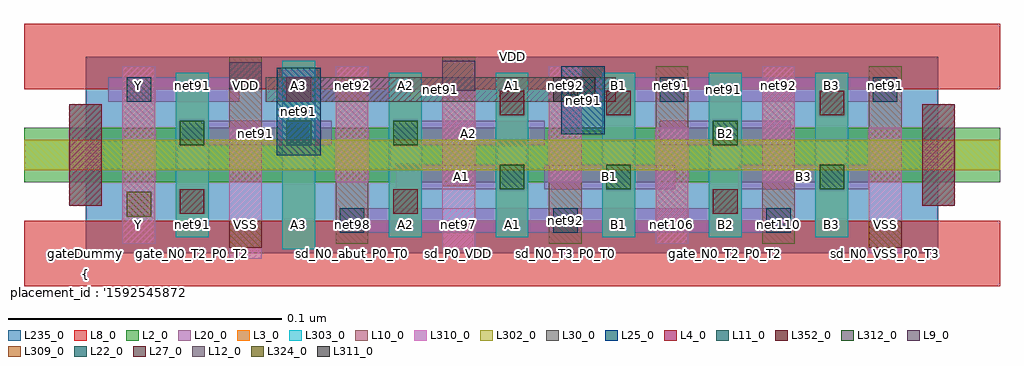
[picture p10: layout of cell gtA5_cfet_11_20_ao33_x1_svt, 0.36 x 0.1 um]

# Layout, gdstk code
import gdstk
lib = gdstk.Library(unit=1e-6, precision=2.5e-10)
def R(c, l, rs):  # rectangles x0, y0, x1, y1
    for r in rs: c.add(gdstk.rectangle(r[:2], r[2:], *l))
def A(c, l, x, y, w, h, nx, ny, dx, dy):  # array of equal rectangles
    R(c, l, [(x+i*dx, y+j*dy, x+i*dx+w, y+j*dy+h) for i in range(nx) for j in range(ny)])
L2_0 = (2, 0)
L3_0 = (3, 0)
L4_0 = (4, 0)
L8_0 = (8, 0)
L9_0 = (9, 0)
L10_0 = (10, 0)
L11_0 = (11, 0)
L12_0 = (12, 0)
L20_0 = (20, 0)
L22_0 = (22, 0)
L25_0 = (25, 0)
L27_0 = (27, 0)
L30_0 = (30, 0)
L235_0 = (235, 0)
L302_0 = (302, 0)
L303_0 = (303, 0)
L309_0 = (309, 0)
L310_0 = (310, 0)
L311_0 = (311, 0)
L312_0 = (312, 0)
L324_0 = (324, 0)
L352_0 = (352, 0)

gta5_cfet_11_20_ao33_x1_ = lib.new_cell('gtA5_cfet_11_20_ao33_x1_svt')
R(gta5_cfet_11_20_ao33_x1_, L2_0, [(-0.0225,0.026,0.3345,0.046)])
A(gta5_cfet_11_20_ao33_x1_, L3_0, 0.111, 0.006, 0.012, 0.06, 5, 1, 0.039, 0)
R(gta5_cfet_11_20_ao33_x1_, L3_0, [(0.072,0.0015,0.084,0.0705), (0.033,0.006,0.045,0.066), (-0.006,0.0175,0.006,0.0545), (0.306,0.0175,0.318,0.0545)])
R(gta5_cfet_11_20_ao33_x1_, L4_0, [(-0.006,0.0175,0.006,0.0545), (0.306,0.0175,0.318,0.0545)])
R(gta5_cfet_11_20_ao33_x1_, L8_0, [(-0.0225,-0.012,0.3345,0.012), (-0.0225,0.06,0.3345,0.084)])
R(gta5_cfet_11_20_ao33_x1_, L9_0, [(0.1305,0.0595,0.1425,0.0705), (0.0525,0.06,0.0645,0.07)])
A(gta5_cfet_11_20_ao33_x1_, L10_0, 0.0135, 0.0035, 0.012, 0.065, 3, 1, 0.078, 0)
R(gta5_cfet_11_20_ao33_x1_, L10_0, [(0.2085,0.0035,0.2205,0.0685), (0.2475,0.0035,0.2595,0.0685), (0.1305,0.0245,0.1425,0.072), (0.0525,0.026,0.0645,0.072), (0.2865,0.026,0.2985,0.0685)])
A(gta5_cfet_11_20_ao33_x1_, L11_0, 0.093, 0.0075, 0.009, 0.009, 3, 1, 0.078, 0)
R(gta5_cfet_11_20_ao33_x1_, L11_0, [(0.015,0.0555,0.024,0.0645), (0.21,0.0555,0.219,0.0645), (0.288,0.0555,0.297,0.0645)])
R(gta5_cfet_11_20_ao33_x1_, L12_0, [(0.0735,0.0555,0.0825,0.0645)])
R(gta5_cfet_11_20_ao33_x1_, L20_0, [(0.093,0.0075,0.258,0.0165), (0.1135,0.0235,0.1615,0.0325), (0.1678,0.0235,0.2157,0.0325), (0.2388,0.0235,0.2868,0.0325), (0.0345,0.0395,0.09,0.0485), (0.1125,0.0395,0.168,0.0485), (0.21,0.0395,0.258,0.0485), (0.0083,0.0555,0.0563,0.0645), (0.0708,0.0555,0.1188,0.0645), (0.17,0.0555,0.297,0.0645)])
R(gta5_cfet_11_20_ao33_x1_, L22_0, [(0.0735,0.0395,0.0825,0.0485), (0.1775,0.0555,0.1865,0.0645)])
R(gta5_cfet_11_20_ao33_x1_, L25_0, [(0.07,0.036,0.086,0.068), (0.174,0.0435,0.19,0.0685)])
R(gta5_cfet_11_20_ao33_x1_, L27_0, [(0.0735,0.0555,0.0825,0.0645), (0.1775,0.0555,0.1865,0.0645)])
R(gta5_cfet_11_20_ao33_x1_, L30_0, [(0.066,0.0555,0.194,0.0645)])
R(gta5_cfet_11_20_ao33_x1_, L235_0, [(0,0,0.312,0.072)])
R(gta5_cfet_11_20_ao33_x1_, L302_0, [(-0.0225,0.0305,0.3345,0.0415)])
A(gta5_cfet_11_20_ao33_x1_, L303_0, 0.111, 0.006, 0.012, 0.06, 5, 1, 0.039, 0)
R(gta5_cfet_11_20_ao33_x1_, L303_0, [(0.072,0.0015,0.084,0.0705), (0.033,0.006,0.045,0.066), (-0.006,0.0175,0.006,0.0545), (0.306,0.0175,0.318,0.0545)])
R(gta5_cfet_11_20_ao33_x1_, L309_0, [(0.0525,0.002,0.0645,0.012), (0.2865,0.002,0.2985,0.012)])
A(gta5_cfet_11_20_ao33_x1_, L310_0, 0.0915, 0.026, 0.012, 0.0425, 3, 1, 0.078, 0)
R(gta5_cfet_11_20_ao33_x1_, L310_0, [(0.0525,-0.002,0.0645,0.046), (0.2865,0,0.2985,0.046), (0.1305,0.0015,0.1425,0.0705), (0.0135,0.0035,0.0255,0.0685), (0.2085,0.0035,0.2205,0.046)])
R(gta5_cfet_11_20_ao33_x1_, L311_0, [(0.171,0.0555,0.18,0.0645)])
R(gta5_cfet_11_20_ao33_x1_, L312_0, [(0.1515,0.0235,0.1605,0.0325), (0.1905,0.0235,0.1995,0.0325), (0.2685,0.0235,0.2775,0.0325), (0.0345,0.0395,0.0435,0.0485), (0.1125,0.0395,0.1215,0.0485), (0.2295,0.0395,0.2385,0.0485)])
R(gta5_cfet_11_20_ao33_x1_, L324_0, [(0.015,0.0135,0.024,0.0225)])
R(gta5_cfet_11_20_ao33_x1_, L352_0, [(0.0345,0.0145,0.0435,0.0235), (0.1125,0.0145,0.1215,0.0235), (0.2295,0.0145,0.2385,0.0235), (0.1515,0.0505,0.1605,0.0595), (0.1905,0.0505,0.1995,0.0595), (0.2685,0.0505,0.2775,0.0595)])
gta5_cfet_11_20_ao33_x1_.add(gdstk.Label('net92', (0.1755,0.012), layer=100, texttype=100))
gta5_cfet_11_20_ao33_x1_.add(gdstk.Label('net91', (0.0622,0.044), layer=100, texttype=100))
gta5_cfet_11_20_ao33_x1_.add(gdstk.Label('net91', (0.2335,0.06), layer=100, texttype=100))
gta5_cfet_11_20_ao33_x1_.add(gdstk.Label('net91', (0.078,0.052), layer=101, texttype=101))
gta5_cfet_11_20_ao33_x1_.add(gdstk.Label('net91', (0.182,0.056), layer=101, texttype=101))
gta5_cfet_11_20_ao33_x1_.add(gdstk.Label('net91', (0.13,0.06), layer=102, texttype=102))
gta5_cfet_11_20_ao33_x1_.add(gdstk.Label('gateDummy', (0,0), layer=103, texttype=103))
gta5_cfet_11_20_ao33_x1_.add(gdstk.Label('sd_N0_T3_P0_T3', (0.0195,0), layer=103, texttype=103))
gta5_cfet_11_20_ao33_x1_.add(gdstk.Label('gate_N0_T2_P0_T2', (0.039,0), layer=103, texttype=103))
gta5_cfet_11_20_ao33_x1_.add(gdstk.Label('sd_N0_VSS_P0_VDD', (0.0585,0), layer=103, texttype=103))
gta5_cfet_11_20_ao33_x1_.add(gdstk.Label('gate_N0_T3_P0_T3', (0.078,0), layer=103, texttype=103))
gta5_cfet_11_20_ao33_x1_.add(gdstk.Label('sd_N0_abut_P0_T0', (0.0975,0), layer=103, texttype=103))
gta5_cfet_11_20_ao33_x1_.add(gdstk.Label('gate_N0_T2_P0_T2', (0.117,0), layer=103, texttype=103))
gta5_cfet_11_20_ao33_x1_.add(gdstk.Label('sd_P0_VDD', (0.1365,0), layer=103, texttype=103))
gta5_cfet_11_20_ao33_x1_.add(gdstk.Label('gate_N0_T1_P0_T1', (0.156,0), layer=103, texttype=103))
gta5_cfet_11_20_ao33_x1_.add(gdstk.Label('sd_N0_T3_P0_T0', (0.1755,0), layer=103, texttype=103))
gta5_cfet_11_20_ao33_x1_.add(gdstk.Label('gate_N0_T1_P0_T1', (0.195,0), layer=103, texttype=103))
gta5_cfet_11_20_ao33_x1_.add(gdstk.Label('sd_N0_abut_P0_T3', (0.2145,0), layer=103, texttype=103))
gta5_cfet_11_20_ao33_x1_.add(gdstk.Label('gate_N0_T2_P0_T2', (0.234,0), layer=103, texttype=103))
gta5_cfet_11_20_ao33_x1_.add(gdstk.Label('sd_N0_abut_P0_T0', (0.2535,0), layer=103, texttype=103))
gta5_cfet_11_20_ao33_x1_.add(gdstk.Label('gate_N0_T1_P0_T1', (0.273,0), layer=103, texttype=103))
gta5_cfet_11_20_ao33_x1_.add(gdstk.Label('sd_N0_VSS_P0_T3', (0.2925,0), layer=103, texttype=103))
gta5_cfet_11_20_ao33_x1_.add(gdstk.Label('gateDummy', (0.312,0), layer=103, texttype=103))
gta5_cfet_11_20_ao33_x1_.add(gdstk.Label('}', (0,-0.0785), layer=104, texttype=104))
gta5_cfet_11_20_ao33_x1_.add(gdstk.Label('  power : None', (0,-0.0713), layer=104, texttype=104))
gta5_cfet_11_20_ao33_x1_.add(gdstk.Label('  performance : None', (0,-0.0643), layer=104, texttype=104))
gta5_cfet_11_20_ao33_x1_.add(gdstk.Label("  solution_hash : '10380707185017707928'", (0,-0.057), layer=104, texttype=104))
gta5_cfet_11_20_ao33_x1_.add(gdstk.Label('  number_m2 : 1', (0,-0.05), layer=104, texttype=104))
gta5_cfet_11_20_ao33_x1_.add(gdstk.Label('  number_m1 : 2', (0,-0.0428), layer=104, texttype=104))
gta5_cfet_11_20_ao33_x1_.add(gdstk.Label('  number_m0cuts : 0', (0,-0.0358), layer=104, texttype=104))
gta5_cfet_11_20_ao33_x1_.add(gdstk.Label('  number_m0 : 10', (0,-0.0285), layer=104, texttype=104))
gta5_cfet_11_20_ao33_x1_.add(gdstk.Label("  solution_number : '0000'", (0,-0.0215), layer=104, texttype=104))
gta5_cfet_11_20_ao33_x1_.add(gdstk.Label("  placement_id : '1592545872943330252'", (0,-0.0143), layer=104, texttype=104))
gta5_cfet_11_20_ao33_x1_.add(gdstk.Label('{', (0,-0.0073), layer=104, texttype=104))
gta5_cfet_11_20_ao33_x1_.add(gdstk.Label('Y', (0.0195,0.0108), layer=105, texttype=105))
gta5_cfet_11_20_ao33_x1_.add(gdstk.Label('net91', (0.039,0.0108), layer=105, texttype=105))
gta5_cfet_11_20_ao33_x1_.add(gdstk.Label('VSS', (0.0585,0.0108), layer=105, texttype=105))
gta5_cfet_11_20_ao33_x1_.add(gdstk.Label('A3', (0.078,0.0108), layer=105, texttype=105))
gta5_cfet_11_20_ao33_x1_.add(gdstk.Label('net98', (0.0975,0.0108), layer=105, texttype=105))
gta5_cfet_11_20_ao33_x1_.add(gdstk.Label('A2', (0.117,0.0108), layer=105, texttype=105))
gta5_cfet_11_20_ao33_x1_.add(gdstk.Label('net97', (0.1365,0.0108), layer=105, texttype=105))
gta5_cfet_11_20_ao33_x1_.add(gdstk.Label('A1', (0.156,0.0108), layer=105, texttype=105))
gta5_cfet_11_20_ao33_x1_.add(gdstk.Label('net91', (0.1755,0.0108), layer=105, texttype=105))
gta5_cfet_11_20_ao33_x1_.add(gdstk.Label('B1', (0.195,0.0108), layer=105, texttype=105))
gta5_cfet_11_20_ao33_x1_.add(gdstk.Label('net106', (0.2145,0.0108), layer=105, texttype=105))
gta5_cfet_11_20_ao33_x1_.add(gdstk.Label('B2', (0.234,0.0108), layer=105, texttype=105))
gta5_cfet_11_20_ao33_x1_.add(gdstk.Label('net110', (0.2535,0.0108), layer=105, texttype=105))
gta5_cfet_11_20_ao33_x1_.add(gdstk.Label('B3', (0.273,0.0108), layer=105, texttype=105))
gta5_cfet_11_20_ao33_x1_.add(gdstk.Label('VSS', (0.2925,0.0108), layer=105, texttype=105))
gta5_cfet_11_20_ao33_x1_.add(gdstk.Label('Y', (0.0195,0.0612), layer=105, texttype=105))
gta5_cfet_11_20_ao33_x1_.add(gdstk.Label('net91', (0.039,0.0612), layer=105, texttype=105))
gta5_cfet_11_20_ao33_x1_.add(gdstk.Label('VDD', (0.0585,0.0612), layer=105, texttype=105))
gta5_cfet_11_20_ao33_x1_.add(gdstk.Label('A3', (0.078,0.0612), layer=105, texttype=105))
gta5_cfet_11_20_ao33_x1_.add(gdstk.Label('net92', (0.0975,0.0612), layer=105, texttype=105))
gta5_cfet_11_20_ao33_x1_.add(gdstk.Label('A2', (0.117,0.0612), layer=105, texttype=105))
gta5_cfet_11_20_ao33_x1_.add(gdstk.Label('VDD', (0.1365,0.0612), layer=105, texttype=105))
gta5_cfet_11_20_ao33_x1_.add(gdstk.Label('A1', (0.156,0.0612), layer=105, texttype=105))
gta5_cfet_11_20_ao33_x1_.add(gdstk.Label('net92', (0.1755,0.0612), layer=105, texttype=105))
gta5_cfet_11_20_ao33_x1_.add(gdstk.Label('B1', (0.195,0.0612), layer=105, texttype=105))
gta5_cfet_11_20_ao33_x1_.add(gdstk.Label('net91', (0.2145,0.0612), layer=105, texttype=105))
gta5_cfet_11_20_ao33_x1_.add(gdstk.Label('B2', (0.234,0.0612), layer=105, texttype=105))
gta5_cfet_11_20_ao33_x1_.add(gdstk.Label('net92', (0.2535,0.0612), layer=105, texttype=105))
gta5_cfet_11_20_ao33_x1_.add(gdstk.Label('B3', (0.273,0.0612), layer=105, texttype=105))
gta5_cfet_11_20_ao33_x1_.add(gdstk.Label('net91', (0.2925,0.0612), layer=105, texttype=105))
gta5_cfet_11_20_ao33_x1_.add(gdstk.Label('VSS', (0.156,0), layer=8, texttype=0))
gta5_cfet_11_20_ao33_x1_.add(gdstk.Label('VDD', (0.156,0.072), layer=8, texttype=0))
gta5_cfet_11_20_ao33_x1_.add(gdstk.Label('A1', (0.1375,0.028), layer=20, texttype=251))
gta5_cfet_11_20_ao33_x1_.add(gdstk.Label('B1', (0.1918,0.028), layer=20, texttype=251))
gta5_cfet_11_20_ao33_x1_.add(gdstk.Label('B3', (0.2627,0.028), layer=20, texttype=251))
gta5_cfet_11_20_ao33_x1_.add(gdstk.Label('A2', (0.1403,0.044), layer=20, texttype=251))
gta5_cfet_11_20_ao33_x1_.add(gdstk.Label('B2', (0.234,0.044), layer=20, texttype=251))
gta5_cfet_11_20_ao33_x1_.add(gdstk.Label('Y', (0.0323,0.06), layer=20, texttype=251))
gta5_cfet_11_20_ao33_x1_.add(gdstk.Label('A3', (0.0948,0.06), layer=20, texttype=251))
gta5_cfet_11_20_ao33_x1_.add(gdstk.Label('gtA5_cfet_11_20_ao33_x1_rvt_0', (0,0), layer=235, texttype=0))

lib.write_gds('gtA5_cfet_11_20_ao33_x1_svt.gds')
